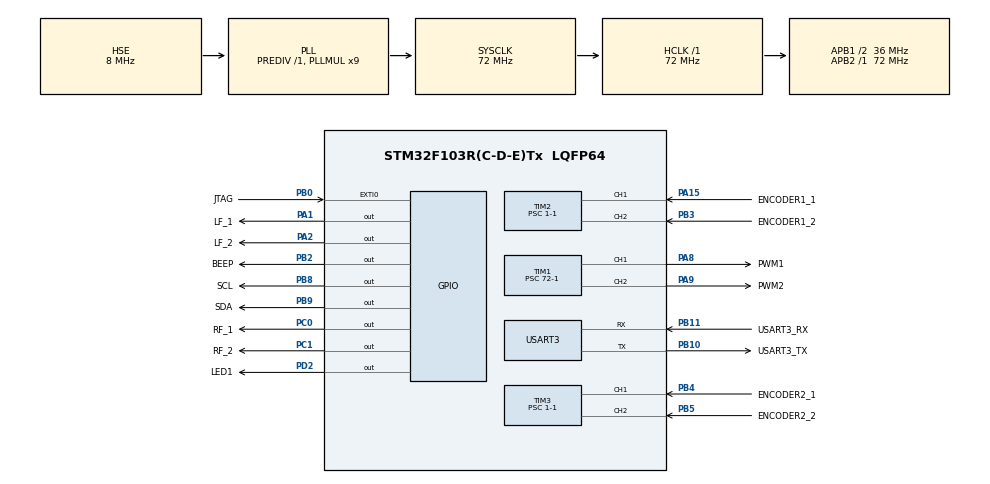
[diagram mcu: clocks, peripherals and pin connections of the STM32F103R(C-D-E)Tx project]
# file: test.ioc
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Mcu.Family=STM32F1
Mcu.Name=STM32F103R(C-D-E)Tx
Mcu.Package=LQFP64
NVIC.EXTI0_IRQn=true\:0\:0\:false\:false\:true\:true\:true\:true
NVIC.PriorityGroup=NVIC_PRIORITYGROUP_4
NVIC.TIM2_IRQn=true\:0\:0\:true\:false\:true\:true\:true\:true
NVIC.TIM3_IRQn=true\:0\:0\:true\:false\:true\:true\:true\:true
NVIC.TIM6_IRQn=true\:0\:0\:true\:false\:true\:true\:true\:true
NVIC.USART3_IRQn=true\:0\:0\:true\:false\:true\:true\:true\:true
PA1.GPIO_Label=LF_1
PA1.GPIO_PuPd=GPIO_PULLDOWN
PA1.PinState=GPIO_PIN_SET
PA1.Signal=GPIO_Output
PA13.Mode=Serial_Wire
PA13.Signal=SYS_JTMS-SWDIO
PA14.Mode=Serial_Wire
PA14.Signal=SYS_JTCK-SWCLK
PA15.GPIO_Label=ENCODER1_1
PA15.GPIO_PuPd=GPIO_PULLUP
PA15.Signal=S_TIM2_CH1_ETR
PA2.GPIO_Label=LF_2
PA2.GPIO_PuPd=GPIO_PULLDOWN
PA2.PinState=GPIO_PIN_SET
PA2.Signal=GPIO_Output
PA8.GPIO_Label=PWM1
PA8.Signal=S_TIM1_CH1
PA9.GPIO_Label=PWM2
PA9.Signal=S_TIM1_CH2
PB0.GPIO_Label=JTAG
PB0.GPIO_ModeDefaultEXTI=GPIO_MODE_IT_FALLING
PB0.GPIO_PuPd=GPIO_PULLUP
PB0.Signal=GPXTI0
PB10.GPIO_Label=USART3_TX
PB10.Mode=Asynchronous
PB10.Signal=USART3_TX
PB11.GPIO_Label=USART3_RX
PB11.GPIO_PuPd=GPIO_PULLUP
PB11.Mode=Asynchronous
PB11.Signal=USART3_RX
PB2.GPIO_Label=BEEP
PB2.GPIO_ModeDefaultOutputPP=GPIO_MODE_OUTPUT_OD
PB2.GPIO_PuPd=GPIO_NOPULL
PB2.PinState=GPIO_PIN_SET
PB2.Signal=GPIO_Output
PB3.GPIO_Label=ENCODER1_2
PB3.GPIO_PuPd=GPIO_PULLUP
PB3.Signal=S_TIM2_CH2
PB4.GPIO_Label=ENCODER2_1
PB4.GPIO_PuPd=GPIO_PULLUP
PB4.Signal=S_TIM3_CH1
PB5.GPIO_Label=ENCODER2_2
PB5.GPIO_PuPd=GPIO_PULLUP
PB5.Signal=S_TIM3_CH2
PB8.GPIO_Label=SCL
PB8.Signal=GPIO_Output
PB9.GPIO_Label=SDA
PB9.Signal=GPIO_Output
PC0.GPIO_Label=RF_1
PC0.PinState=GPIO_PIN_SET
PC0.Signal=GPIO_Output
PC1.GPIO_Label=RF_2
PC1.PinState=GPIO_PIN_SET
PC1.Signal=GPIO_Output
PD0-OSC_IN.Mode=HSE-External-Oscillator
PD0-OSC_IN.Signal=RCC_OSC_IN
PD1-OSC_OUT.Mode=HSE-External-Oscillator
PD1-OSC_OUT.Signal=RCC_OSC_OUT
PD2.GPIO_Label=LED1
PD2.Signal=GPIO_Output
ProjectManager.HeapSize=0x200
ProjectManager.StackSize=0x400
ProjectManager.TargetToolchain=MDK-ARM V5.32
RCC.AHBFreq_Value=72000000
RCC.APB1CLKDivider=RCC_HCLK_DIV2
RCC.APB1Freq_Value=36000000
RCC.APB1TimFreq_Value=72000000
RCC.APB2Freq_Value=72000000
RCC.APB2TimFreq_Value=72000000
RCC.HCLKFreq_Value=72000000
RCC.PLLMUL=RCC_PLL_MUL9
RCC.PLLSourceVirtual=RCC_PLLSOURCE_HSE
RCC.SYSCLKFreq_VALUE=72000000
RCC.SYSCLKSource=RCC_SYSCLKSOURCE_PLLCLK
RCC.USBFreq_Value=72000000
SH.S_TIM1_CH1.0=TIM1_CH1,PWM Generation1 CH1
SH.S_TIM1_CH2.0=TIM1_CH2,PWM Generation2 CH2
SH.S_TIM2_CH1_ETR.0=TIM2_CH1,Encoder_Interface
SH.S_TIM2_CH2.0=TIM2_CH2,Encoder_Interface
SH.S_TIM3_CH1.0=TIM3_CH1,Encoder_Interface
SH.S_TIM3_CH2.0=TIM3_CH2,Encoder_Interface
TIM1.AutoReloadPreload=TIM_AUTORELOAD_PRELOAD_ENABLE
TIM1.Channel-PWM\ Generation1\ CH1=TIM_CHANNEL_1
TIM1.Channel-PWM\ Generation2\ CH2=TIM_CHANNEL_2
TIM1.OCPolarity_1=TIM_OCPOLARITY_HIGH
TIM1.OCPolarity_2=TIM_OCPOLARITY_HIGH
TIM1.Period=1000-1
TIM1.Prescaler=72-1
TIM2.AutoReloadPreload=TIM_AUTORELOAD_PRELOAD_ENABLE
TIM2.EncoderMode=TIM_ENCODERMODE_TI12
TIM2.Period=65536-1
TIM2.Prescaler=1-1
TIM3.AutoReloadPreload=TIM_AUTORELOAD_PRELOAD_ENABLE
TIM3.EncoderMode=TIM_ENCODERMODE_TI12
TIM3.Period=65536-1
TIM3.Prescaler=1-1
TIM6.AutoReloadPreload=TIM_AUTORELOAD_PRELOAD_DISABLE
TIM6.Period=100
TIM6.Prescaler=7200
USART3.VirtualMode=VM_ASYNC
VP_TIM1_VS_ClockSourceINT.Mode=Internal
VP_TIM6_VS_ClockSourceINT.Mode=Enable_Timer
board=custom

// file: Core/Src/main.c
/* USER CODE BEGIN Header */
/**
  ******************************************************************************
  * @file           : main.c
  * @brief          : Main program body
  ******************************************************************************
  * @attention
  *
  * Copyright (c) 2023 STMicroelectronics.
  * All rights reserved.
  *
  * This software is licensed under terms that can be found in the LICENSE file
  * in the root directory of this software component.
  * If no LICENSE file comes with this software, it is provided AS-IS.
  *
  ******************************************************************************
  */
#include "main.h"
#include "tim.h"
#include "usart.h"
#include "gpio.h"
#include "motor.h"
#include <math.h>
#include <stdlib.h>
#include "beep.h"
#include "OLED.h"

void AutoReloadCallback(void);
void Give_Motor_PWM(int F_MotorL_PWM,int F_MotorR_PWM);
void track_control(void);
int Position_PID(float error1);

uint8_t Serial_RxPacket[10];
uint8_t Serial_RxFlag;
int target_speed=0;//目标速度
int cnt2=0;
int start=0;
int motor_flag;
int error_position=0;
int total_distance;
int delay_time=0;
int goal_piece;
int time_cnt;
int flag=0;
int js_cnt=0;
int encoder_count; // 编码器检测到的脉冲数
int encoderNum[4] = {0};//编码数
int initial_speed=500;
int end_flag=0;
int jtag_flag=0;
int jtag_piece=0;
int piece1=0; int piece2=0; int piece3=0; int piece4=0;

/* USER CODE END Header */

void SystemClock_Config(void);

int main(void)
{

  /* MCU Configuration--------------------------------------------------------*/

  /* Reset of all peripherals, Initializes the Flash interface and the Systick. */
  HAL_Init();

  /* Configure the system clock */
  SystemClock_Config();

  /* Initialize all configured peripherals */

  /* USER CODE BEGIN 2 */
    MX_GPIO_Init();
    MX_USART3_UART_Init();
    HAL_UART_Receive_IT(&huart3, (uint8_t *)&Serial_RxPacket[0], 3);
    OLED_Init();
    OLED_ColorTurn(0);
    OLED_DisplayTurn(0);
    OLED_ShowString(0,32,&Serial_RxPacket[0],16,0);
    OLED_Refresh();

// char c;
// c='c';
//    BEEP_light();
    MX_TIM1_Init();
    MX_TIM2_Init();
    MX_TIM3_Init();
//  MX_TIM4_Init();
//  MX_TIM5_Init();
    MX_TIM6_Init();

    HAL_TIM_Base_Start_IT(&htim6);
    HAL_TIM_PWM_Start(&htim1,TIM_CHANNEL_1);
    HAL_TIM_PWM_Start(&htim1,TIM_CHANNEL_2);

//  __HAL_TIM_SetCompare(&htim1, TIM_CHANNEL_1, 50);
//  run();
    HAL_TIM_Encoder_Start(&htim2, TIM_CHANNEL_ALL);
    HAL_TIM_Encoder_Start(&htim3, TIM_CHANNEL_ALL);
//  HAL_TIM_Encoder_Start(&htim4, TIM_CHANNEL_ALL);
//  HAL_TIM_Encoder_Start(&htim5, TIM_CHANNEL_ALL);

  /* USER CODE END 2 */

  /* Infinite loop */
    while (1)
    {

    /* USER CODE BEGIN 3 */
//        OLED_Clear();
        OLED_ShowString(0,0,"time:",16,1);
        OLED_ShowNum(40,0,time_cnt,3,16,1);
//        OLED_Refresh();
        OLED_ShowString(0,16,"distance:",16,1);
        OLED_ShowNum(72,16,total_distance,6,16,1);
//        OLED_Refresh();
        OLED_ShowString(0,32,"1:",16,1);OLED_ShowNum(16,32,piece1,4,16,1);
        OLED_ShowString(56,32,"2:",16,1);OLED_ShowNum(72,32,piece2,4,16,1);
        OLED_ShowString(0,48,"3:",16,1);OLED_ShowNum(16,48,piece3,4,16,1);
        OLED_ShowString(56,48,"4:",16,1);OLED_ShowNum(72,48,piece4,4,16,1);
//        OLED_Refresh();
//        OLED_ShowNum(0,48,__HAL_TIM_GET_COMPARE(&htim1,TIM_CHANNEL_1),4,16,0);
//        OLED_ShowNum(32,48,__HAL_TIM_GET_COMPARE(&htim1,TIM_CHANNEL_2),4,16,0);
//        OLED_ShowNum(0,48,jtag_piece,4,16,0);
        OLED_Refresh();
//        Give_Motor_PWM(-200,600);

        if(start==0)
        {
            stop();
        }
        else if (delay_time!=0)
        {
            stop();
            BEEP_light();
            LED_light();
            int i=0;
            for (i=0;i<500000;i++);
        }
        else if (end_flag==1)
        {
            HAL_TIM_Base_Stop(&htim6);
            __HAL_TIM_SET_COMPARE(&htim1,TIM_CHANNEL_1, 500);
            __HAL_TIM_SET_COMPARE(&htim1,TIM_CHANNEL_2, 500);
            int i=0;
            for(i=0;i<5000000;i++);
            HAL_TIM_Base_Stop(&htim1);
            HAL_NVIC_DisableIRQ(USART3_IRQn);
            stop();

        }
        else
        track_control();

//        if(jtag_flag==1)
//        {
//          HAL_Delay(100);
//         js_cnt++;
//           jtag_flag=0;
//           if((js_cnt-1)%2==1)
//           {
//               jtag_piece=js_cnt/2;
//           }
//           else
//           {
//               jtag_piece=(js_cnt-1)/2;
//               switch(jtag_piece)
//           {
//                   case 1:
//                       piece1=total_distance;break;
//                   case 2:
//                       piece2=total_distance;break;
//                   case 3:
//                       piece3=total_distance;break;
//                   case 4:
//                       piece4=total_distance;break;
//                   default: break;
//           }
//                BEEP_light();
//                LED_light();
//           }

//        }

           if(jtag_flag==1)
        {
          HAL_Delay(50);
          js_cnt++;
           jtag_flag=0;
           if((js_cnt)%2==1)
           {
               jtag_piece=(js_cnt+1)/2;
                switch(jtag_piece)
           {
                   case 1:
                       piece1=total_distance;break;
                   case 2:
                       piece2=total_distance;break;
                   case 3:
                       piece3=total_distance;break;
                   case 4:
                       piece4=total_distance;break;
                   default: break;
           }
                BEEP_light();
                LED_light();
           }

           else
           {
               jtag_piece=(js_cnt)/2;
           }

        }

//        if(start==0)
//        {
//            stop();
//        }
//        else if (delay_time!=0)
//        {
//            stop();
//            BEEP_light();
//            LED_light();
//            int i=0;
//            for (i=0;i<500000;i++);
//        }
//        else if (end_flag==1)
//        {
//            HAL_TIM_Base_Stop(&htim6);
//            __HAL_TIM_SET_COMPARE(&htim1,TIM_CHANNEL_1, 500);
//            __HAL_TIM_SET_COMPARE(&htim1,TIM_CHANNEL_2, 500);
//            int i=0;
//            for(i=0;i<5000000;i++);
//            HAL_TIM_Base_Stop(&htim1);
//            HAL_NVIC_DisableIRQ(USART3_IRQn);
//            stop();
//
//        }
//        else
//        track_control();
    }
  /* USER CODE END 3 */
}

void SystemClock_Config(void)
{
  RCC_OscInitTypeDef RCC_OscInitStruct = {0};
  RCC_ClkInitTypeDef RCC_ClkInitStruct = {0};

  /** Initializes the RCC Oscillators according to the specified parameters
  * in the RCC_OscInitTypeDef structure.
  */
  RCC_OscInitStruct.OscillatorType = RCC_OSCILLATORTYPE_HSE;
  RCC_OscInitStruct.HSEState = RCC_HSE_ON;
  RCC_OscInitStruct.HSEPredivValue = RCC_HSE_PREDIV_DIV1;
  RCC_OscInitStruct.HSIState = RCC_HSI_ON;
  RCC_OscInitStruct.PLL.PLLState = RCC_PLL_ON;
  RCC_OscInitStruct.PLL.PLLSource = RCC_PLLSOURCE_HSE;
  RCC_OscInitStruct.PLL.PLLMUL = RCC_PLL_MUL9;
  if (HAL_RCC_OscConfig(&RCC_OscInitStruct) != HAL_OK)
  {
    Error_Handler();
  }

  /** Initializes the CPU, AHB and APB buses clocks
  */
  RCC_ClkInitStruct.ClockType = RCC_CLOCKTYPE_HCLK|RCC_CLOCKTYPE_SYSCLK
                              |RCC_CLOCKTYPE_PCLK1|RCC_CLOCKTYPE_PCLK2;
  RCC_ClkInitStruct.SYSCLKSource = RCC_SYSCLKSOURCE_PLLCLK;
  RCC_ClkInitStruct.AHBCLKDivider = RCC_SYSCLK_DIV1;
  RCC_ClkInitStruct.APB1CLKDivider = RCC_HCLK_DIV2;
  RCC_ClkInitStruct.APB2CLKDivider = RCC_HCLK_DIV1;

  if (HAL_RCC_ClockConfig(&RCC_ClkInitStruct, FLASH_LATENCY_2) != HAL_OK)
  {
    Error_Handler();
  }
}

/* USER CODE BEGIN 4 */

void HAL_TIM_PeriodElapsedCallback(TIM_HandleTypeDef *htim)
{

    if(htim->Instance==htim6.Instance)
    {
        static int cnt=0;
        Serial_RxFlag=0;
        cnt++;
        cnt2++;
        if(cnt2>9)
        {
            AutoReloadCallback(); // 定时调用
            cnt2=0;
        }
        if(cnt>99)
        {
            time_cnt++;
            cnt=0;
            if(delay_time>0)
                delay_time--;
            else
                flag=0;
        }
        __HAL_TIM_CLEAR_FLAG(&htim6,TIM_FLAG_UPDATE);
    }

}

void HAL_GPIO_EXTI_Callback(uint16_t GPIO_Pin)
{
    if(GPIO_Pin==JTAG_Pin)
    {

        jtag_flag=1;
        flag=1;
        if(start==0)
        {
             jtag_flag=0;
            flag=0;
        }
        if((jtag_piece==goal_piece-1)&&(js_cnt%2==0))
        {
        delay_time=2;
//            stop();
        }
        else if((jtag_piece==4-1)&&(js_cnt%2==0))
        {
            delay_time=5;
//            stop();
        }
        else
            delay_time=0;

    }
}

void HAL_UART_RxCpltCallback(UART_HandleTypeDef *huart)
{

    if(start==0)
    {
        switch(Serial_RxPacket[1])
        {
        case'A':
            goal_piece=1;
            break;
        case'B':
            goal_piece=2;
            break;
        case'C':
            goal_piece=3;
            break;
        case'D':
            goal_piece=4;
            break;

        }
        start=1;
    }
    else
    {
        uint8_t *p;
        static int RxState=0;
        static uint8_t pRxPacket = 1;
        if (RxState == 0)
        {
            if (Serial_RxPacket[0] == '[' )
            {
                RxState = 1;
                pRxPacket = 1;
                int i ;
                for(i=1; Serial_RxPacket[i]!='\0'; i++)
                {
                    Serial_RxPacket[i]=0;
                }
            }
        }
        else if (RxState == 1)
        {
            if (Serial_RxPacket[0] == ']')
            {
                RxState = 0;
                Serial_RxPacket[pRxPacket] = '\0';
            }
            else
            {
                Serial_RxPacket[pRxPacket] = Serial_RxPacket[0];
                if(Serial_RxPacket[pRxPacket]=='e')
                end_flag=1;
                pRxPacket ++;
            }
        }

        p=&Serial_RxPacket[1];
        error_position=code_transform(p)-80;
    }
    HAL_UART_Receive_IT(&huart3, (uint8_t *)&Serial_RxPacket[0], 1);

}

void AutoReloadCallback(void)
{
//    int A1,B1;
//    float rotateSpeed[4] = {0};
    static int distance[4]= {0};//距离

    //距离=圈数*轮子周长  单位：cm   acos(-1.0)是π,轮子直径为4.8cm
    distance[0] = (float)(__HAL_TIM_GET_COUNTER(&htim2))/(4 * 13 * 20)*acos(-1.0)*4.8;
    distance[1] = (float)(__HAL_TIM_GET_COUNTER(&htim3))/(4 * 13 * 20)*acos(-1.0)*4.8;
    __HAL_TIM_SET_COUNTER(&htim2,0);
    __HAL_TIM_SET_COUNTER(&htim3,0);
//    switch(motor_flag)
//    {
//    case 0:
//        break;
//    case 1:
    if(distance[0]<100&&distance[1]<100)
        total_distance +=(distance[0]+distance[1])/2;
    else if(distance[0]<100&&distance[1]>100)
        total_distance +=distance[0];
    else if(distance[0]>100&&distance[1]<100)
        total_distance +=distance[1];
//        break;
//    case 2:
//        total_distance+=distance[0];
//        break;
//    case 3:
//        total_distance+=distance[1];
//        break;
//    default:
//        break;
//    }
    //距离累加并求平均值

    //转速(1秒钟转多少圈)=单位时间内的计数值/(总分辨率*时间系数) 单位：rad/s

}

int Position_PID(float error1)
{
    float Position_KP = 10.3, Position_KI = 0.06, Position_KD = 4.8;                                       // pid
    static float error, out, Integral_error, error_last;
    int new_out;
    // 误差 输出 积分 上一次误差
    error =  error1;                                                                      // 求出速度偏差，由测量值减去目标值。
    Integral_error += error;
//if(Integral_error>80)
//    Integral_error=80;
//if(Integral_error<-80)
//     Integral_error=-80;
    // 求出偏差的积分
    out = Position_KP * error + Position_KI * Integral_error + Position_KD * (error - error_last); // 位置式PID控制器
    if(out>400)
        out=400;
    if(out<-400)
        out=-400;
    new_out=(int)out;
    error_last = error;                                                                            // 保存上一次偏差
    return new_out;                                                                                    // 增量输出
}

void Give_Motor_PWM(int F_MotorL_PWM,int F_MotorR_PWM)
{
//    F_MotorL_PWM=limit_speed(F_MotorL_PWM);
//    F_MotorR_PWM=limit_speed(F_MotorR_PWM);
    if (F_MotorL_PWM>0) //左前电机正转
    {
       HAL_GPIO_WritePin(LF_1_GPIO_Port,LF_1_Pin,GPIO_PIN_SET);
       HAL_GPIO_WritePin(LF_2_GPIO_Port,LF_2_Pin,GPIO_PIN_RESET);

    }
    else              //左前电机反转
    {
       HAL_GPIO_WritePin(LF_1_GPIO_Port,LF_1_Pin,GPIO_PIN_RESET);
       HAL_GPIO_WritePin(LF_2_GPIO_Port,LF_2_Pin,GPIO_PIN_SET);
    }

    if (F_MotorR_PWM>0) //右前电机正转
    {
        HAL_GPIO_WritePin(RF_1_GPIO_Port,RF_1_Pin,GPIO_PIN_SET);
        HAL_GPIO_WritePin(RF_2_GPIO_Port,RF_2_Pin,GPIO_PIN_RESET);//右前
    }
    else              //右前电机反转
    {
        HAL_GPIO_WritePin(RF_1_GPIO_Port,RF_1_Pin,GPIO_PIN_RESET);
        HAL_GPIO_WritePin(RF_2_GPIO_Port,RF_2_Pin,GPIO_PIN_SET);//右前
    }

    __HAL_TIM_SET_COMPARE(&htim1,TIM_CHANNEL_1, abs(F_MotorL_PWM));
    __HAL_TIM_SET_COMPARE(&htim1,TIM_CHANNEL_2, abs(F_MotorR_PWM));

}

void track_control(void)
{
    int L_speed ;
    int R_speed ;
    L_speed = initial_speed + Position_PID(error_position)+50;
    R_speed = initial_speed - Position_PID(error_position);

    Give_Motor_PWM(L_speed,R_speed);
}

void delay(void)
{
    int i=0;
    for(i=0;i<5;i++)
    {
        BEEP_light();

    }
}

/* USER CODE END 4 */

void Error_Handler(void)
{
    __disable_irq();
    while (1)
    {
    }
}
